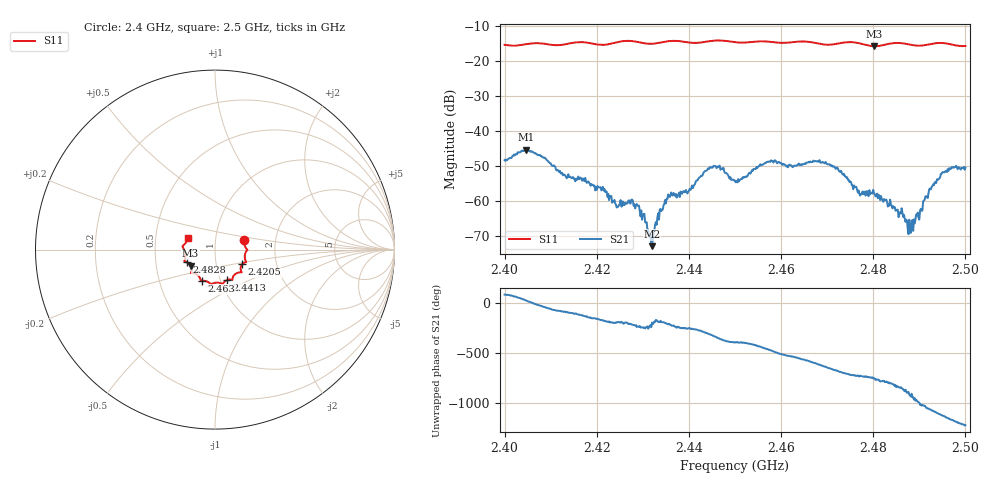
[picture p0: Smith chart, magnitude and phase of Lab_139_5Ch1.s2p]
# Hz S RI R 50
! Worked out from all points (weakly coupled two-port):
!   601 points, 2.4 GHz to 2.5 GHz, reference 50 ohm
!   highest |S21| = -45.31 dB at 2.4047 GHz (marker M1); lowest = -72.9 dB at 2.432 GHz (marker M2)
!   lowest |S11| = -15.7 dB at 2.4802 GHz (marker M3), VSWR 1.39, Z = 37.5 - j6.95 ohm
!   |S11| at or under -10 dB: start of sweep to end of sweep
!   S12 and S22 are empty: the file has one direction only
!   S11 on the Smith chart (normalised r, x): 2.4 GHz: 1.38, +0.15; 2.4205 GHz: 1.34, -0.22; 2.4413 GHz: 1.08, -0.38; 2.463 GHz: 0.82, -0.29; 2.4828 GHz: 0.72, -0.10; 2.5 GHz: 0.73, +0.10
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2.4e9  0.1627 0.0527  5.45e-05 0.00385  0 0  0 0
2.404667e9  0.1748 0.00549  0.00471 0.0027  0 0  0 0
2.416667e9  0.1737 -0.0695  -0.000954 -0.00184  0 0  0 0
2.4205e9  0.1516 -0.0808  -0.00149 -0.000468  0 0  0 0
2.4245e9  0.1451 -0.1185  -0.000815 0.000107  0 0  0 0
2.428667e9  0.1407 -0.1262  -0.0005 0.00076  0 0  0 0
2.432e9  0.1081 -0.1405  -0.000222 5.05e-05  0 0  0 0
2.433333e9  0.1002 -0.1517  -0.000668 6.43e-05  0 0  0 0
2.435667e9  0.0979 -0.167  -0.0011 0.000499  0 0  0 0
2.441333e9  0.0674 -0.1694  -0.000328 0.00172  0 0  0 0
2.445333e9  0.043 -0.1911  0.00271 0.0017  0 0  0 0
2.45e9  0.0245 -0.1852  0.00165 -0.00108  0 0  0 0
2.457333e9  -0.0264 -0.1882  -0.00104 -0.00352  0 0  0 0
2.463e9  -0.0722 -0.1737  -0.00321 6.25e-06  0 0  0 0
2.466667e9  -0.0812 -0.1675  -0.00231 0.00282  0 0  0 0
2.477e9  -0.1312 -0.1231  0.00123 -0.000327  0 0  0 0
2.480167e9  -0.1361 -0.0902  0.00111 -0.000695  0 0  0 0
2.482833e9  -0.1587 -0.0701  0.000434 -0.00096  0 0  0 0
2.483333e9  -0.1627 -0.0685  0.000263 -0.000875  0 0  0 0
2.488167e9  -0.1654 -0.0452  -0.00028 0.000213  0 0  0 0
2.495167e9  -0.1804 0.019  0.00162 -0.00204  0 0  0 0
2.5e9  -0.1519 0.0641  -0.00249 -0.00172  0 0  0 0
